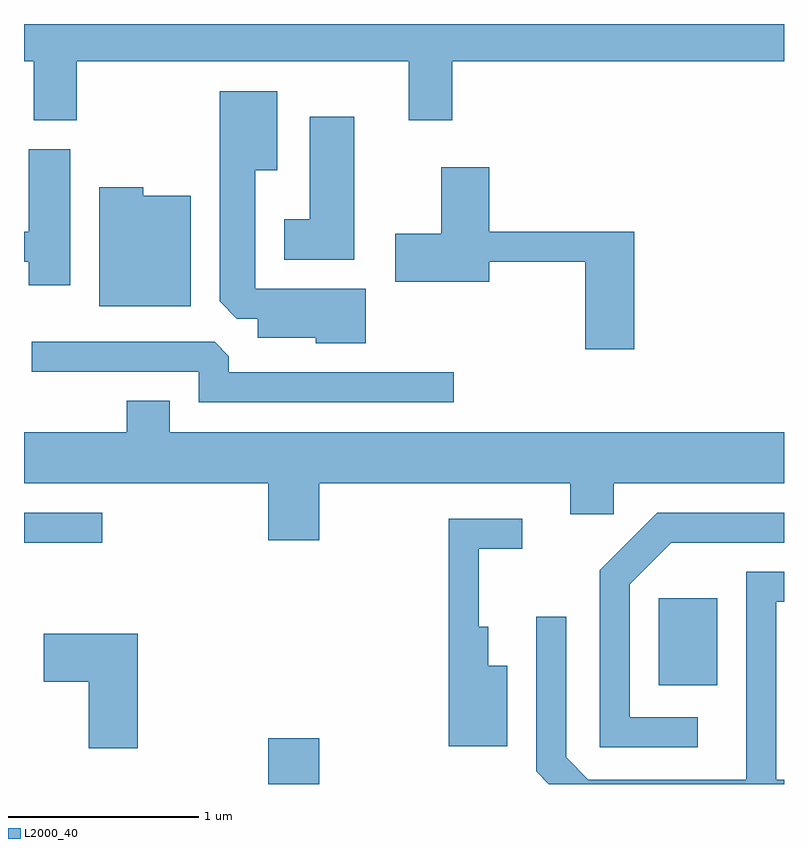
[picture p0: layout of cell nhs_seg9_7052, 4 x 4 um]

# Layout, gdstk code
import gdstk
lib = gdstk.Library(unit=1e-6, precision=1e-09)
def R(c, l, rs):  # rectangles x0, y0, x1, y1
    for r in rs: c.add(gdstk.rectangle(r[:2], r[2:], *l))
def P(c, l, *ps):  # polygons
    for p in ps: c.add(gdstk.Polygon(p, *l))
L2000_40 = (2000, 40)

nhs_seg9_7052 = lib.new_cell('nhs_seg9_7052')
R(nhs_seg9_7052, L2000_40, [(394.896,2012.432,395.164,2012.674), (396.951,2012.951,397.259,2013.409), (393.611,2013.701,394.023,2013.859)])
P(nhs_seg9_7052, L2000_40, [(393.889,2016.236),(395.636,2016.236),(395.636,2015.926),(395.864,2015.926),(395.864,2016.236),(397.611,2016.236),(397.611,2016.432),(393.611,2016.432),(393.611,2016.236),(393.661,2016.236),(393.661,2015.926),(393.889,2015.926)],
  [(395.409,2015.039),(394.829,2015.039),(394.829,2015.661),(394.944,2015.661),(394.944,2016.079),(394.641,2016.079),(394.641,2014.972),(394.732,2014.881),(394.841,2014.881),(394.841,2014.781),(395.146,2014.781),(395.146,2014.751),(395.409,2014.751)],
  [(395.349,2015.944),(395.116,2015.944),(395.116,2015.404),(394.981,2015.404),(394.981,2015.191),(395.349,2015.191)],
  [(393.854,2015.774),(393.636,2015.774),(393.636,2015.339),(393.611,2015.339),(393.611,2015.181),(393.636,2015.181),(393.636,2015.056),(393.854,2015.056)],
  [(396.824,2015.339),(396.059,2015.339),(396.059,2015.679),(395.806,2015.679),(395.806,2015.329),(395.566,2015.329),(395.566,2015.076),(396.059,2015.076),(396.059,2015.181),(396.566,2015.181),(396.566,2014.721),(396.824,2014.721)],
  [(394.489,2015.529),(394.239,2015.529),(394.239,2015.574),(394.006,2015.574),(394.006,2014.946),(394.489,2014.946)],
  [(395.873,2014.599),(394.689,2014.599),(394.689,2014.684),(394.614,2014.759),(393.653,2014.759),(393.653,2014.601),(394.531,2014.601),(394.531,2014.441),(395.873,2014.441)],
  [(395.164,2014.016),(396.486,2014.016),(396.486,2013.851),(396.714,2013.851),(396.714,2014.016),(397.611,2014.016),(397.611,2014.284),(394.379,2014.284),(394.379,2014.449),(394.151,2014.449),(394.151,2014.284),(393.611,2014.284),(393.611,2014.016),(394.896,2014.016),(394.896,2013.716),(395.164,2013.716)],
  [(397.158,2012.784),(396.799,2012.784),(396.799,2013.484),(397.017,2013.701),(397.611,2013.701),(397.611,2013.859),(396.944,2013.859),(396.641,2013.557),(396.641,2012.626),(397.158,2012.626)],
  [(396.154,2013.054),(396.054,2013.054),(396.054,2013.259),(396.004,2013.259),(396.004,2013.671),(396.233,2013.671),(396.233,2013.829),(395.846,2013.829),(395.846,2012.631),(396.154,2012.631)],
  [(397.611,2012.454),(397.569,2012.454),(397.569,2013.391),(397.611,2013.391),(397.611,2013.549),(397.411,2013.549),(397.411,2012.454),(396.582,2012.454),(396.464,2012.572),(396.464,2013.313),(396.306,2013.313),(396.306,2012.499),(396.373,2012.432),(397.611,2012.432)],
  [(394.209,2013.224),(393.716,2013.224),(393.716,2012.971),(393.951,2012.971),(393.951,2012.621),(394.209,2012.621)])

lib.write_gds('nhs_seg9_7052.gds')
